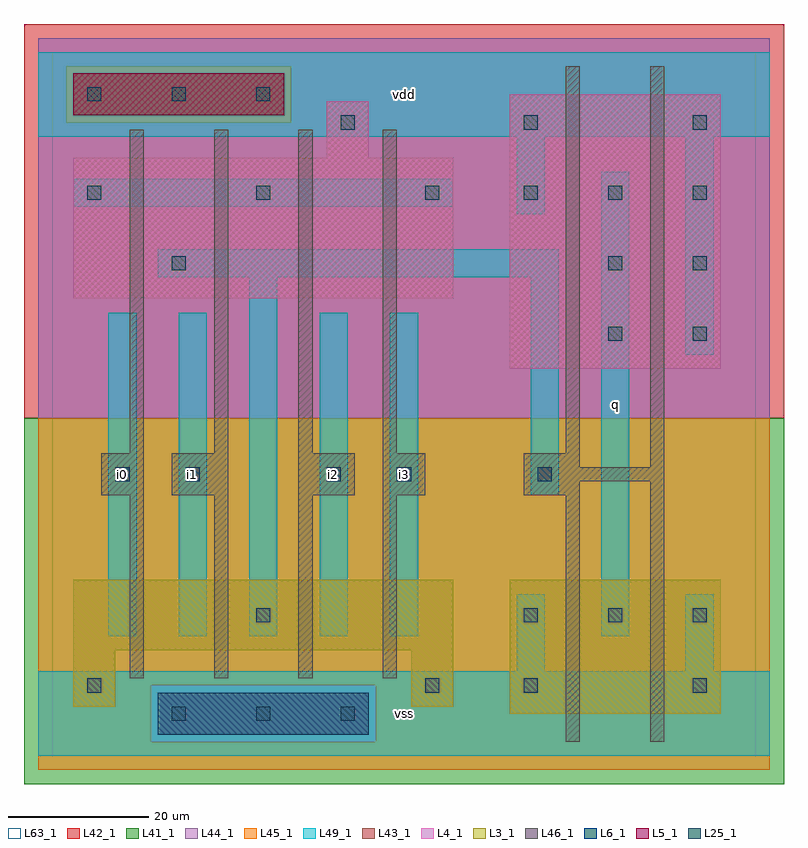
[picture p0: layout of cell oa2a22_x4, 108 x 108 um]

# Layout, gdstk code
import gdstk
lib = gdstk.Library(unit=1e-6, precision=1e-09)
def R(c, l, rs):  # rectangles x0, y0, x1, y1
    for r in rs: c.add(gdstk.rectangle(r[:2], r[2:], *l))
def A(c, l, x, y, w, h, nx, ny, dx, dy):  # array of equal rectangles
    R(c, l, [(x+i*dx, y+j*dy, x+i*dx+w, y+j*dy+h) for i in range(nx) for j in range(ny)])
L3_1 = (3, 1)
L4_1 = (4, 1)
L5_1 = (5, 1)
L6_1 = (6, 1)
L25_1 = (25, 1)
L41_1 = (41, 1)
L42_1 = (42, 1)
L43_1 = (43, 1)
L44_1 = (44, 1)
L45_1 = (45, 1)
L46_1 = (46, 1)
L49_1 = (49, 1)
L63_1 = (63, 1)

oa2a22_x4 = lib.new_cell('oa2a22_x4')
R(oa2a22_x4, L3_1, [(65,6,95,25), (3,7,9,15), (51,7,57,15), (3,15,57,25)])
R(oa2a22_x4, L4_1, [(65,55,95,94), (3,65,57,85), (39,85,45,93)])
R(oa2a22_x4, L5_1, [(3,91,33,97)])
R(oa2a22_x4, L6_1, [(15,3,45,9), (15,3,45,9)])
A(oa2a22_x4, L25_1, 17, 5, 2, 2, 3, 1, 12, 0)
A(oa2a22_x4, L25_1, 67, 19, 2, 2, 3, 2, 12, 60)
A(oa2a22_x4, L25_1, 5, 79, 2, 2, 3, 1, 24, 0)
A(oa2a22_x4, L25_1, 5, 93, 2, 2, 3, 1, 12, 0)
R(oa2a22_x4, L25_1, [(5,9,7,11), (53,9,55,11), (67,9,69,11), (91,9,93,11), (29,19,31,21), (9,39,11,41), (19,39,21,41), (39,39,41,41), (49,39,51,41), (69,39,71,41), (79,59,81,61), (91,59,93,61), (17,69,19,71), (79,69,81,71), (91,69,93,71), (41,89,43,91), (67,89,69,91), (91,89,93,91)])
R(oa2a22_x4, L41_1, [(-4,-4,104,48)])
R(oa2a22_x4, L42_1, [(-4,48,104,104)])
R(oa2a22_x4, L43_1, [(15,3,45,9), (65,6,95,25), (3,7,9,15), (51,7,57,15), (3,15,57,25), (65,55,95,94), (3,65,57,85), (39,85,45,93), (3,91,33,97)])
R(oa2a22_x4, L44_1, [(14,2,46,10), (-2,48,102,90), (-2,90,2,98), (34,90,102,98), (-2,98,102,102)])
R(oa2a22_x4, L45_1, [(-2,-2,102,2), (-2,2,14,10), (46,2,102,10), (-2,10,102,48), (2,90,34,98)])
A(oa2a22_x4, L46_1, 11, 11, 2, 26, 4, 1, 12, 0)
A(oa2a22_x4, L46_1, 11, 43, 2, 46, 4, 1, 12, 0)
R(oa2a22_x4, L46_1, [(73,2,75,37), (85,2,87,39), (7,37,13,43), (17,37,25,43), (35,37,43,43), (47,37,53,43), (67,37,75,39), (67,39,87,41), (67,41,75,43), (85,41,87,98), (73,43,75,98)])
R(oa2a22_x4, L49_1, [(-2,0,102,12), (66,12,70,23), (90,12,94,23), (8,17,12,63), (18,17,22,63), (28,17,32,68), (38,17,42,63), (48,17,52,63), (78,17,82,83), (68,37,72,68), (90,57,94,88), (15,68,72,72), (66,77,70,88), (3,78,57,82), (-2,88,102,100)])
R(oa2a22_x4, L63_1, [(0,0,100,100)])
oa2a22_x4.add(gdstk.Label('i1', (20,40), layer=49, texttype=1))
oa2a22_x4.add(gdstk.Label('i0', (10,40), layer=49, texttype=1))
oa2a22_x4.add(gdstk.Label('i2', (40,40), layer=49, texttype=1))
oa2a22_x4.add(gdstk.Label('vss', (50,6), layer=49, texttype=1))
oa2a22_x4.add(gdstk.Label('i3', (50,40), layer=49, texttype=1))
oa2a22_x4.add(gdstk.Label('vdd', (50,94), layer=49, texttype=1))
oa2a22_x4.add(gdstk.Label('q', (80,50), layer=49, texttype=1))

lib.write_gds('oa2a22_x4.gds')
